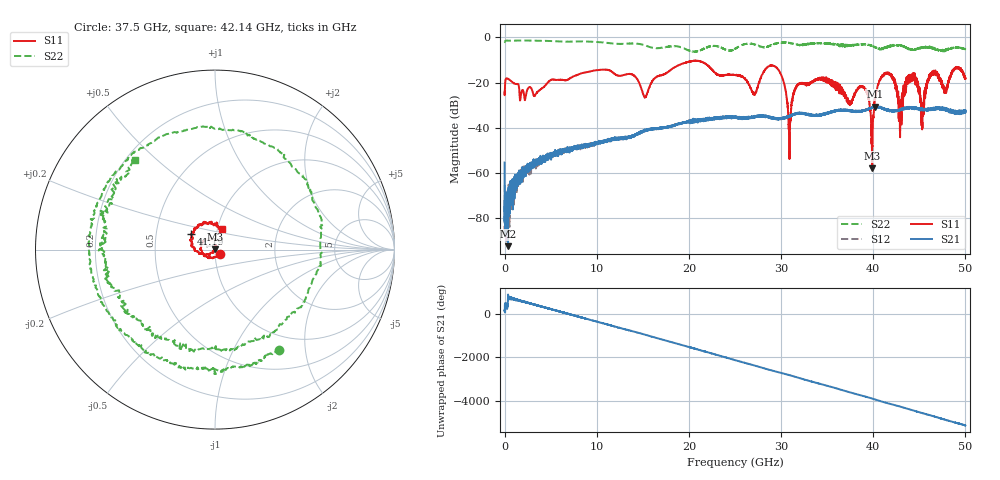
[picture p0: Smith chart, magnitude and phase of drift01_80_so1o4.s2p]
!Created with skrf (http://scikit-rf.org).
# Hz S RI R 50.0
!freq ReS11 ImS11 ReS21 ImS21 ReS12 ImS12 ReS22 ImS22
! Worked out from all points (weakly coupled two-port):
!   10001 points, 300 kHz to 50 GHz, reference 50 ohm
!   highest |S21| = -30.59 dB at 40.17 GHz (marker M1); lowest = -92.4 dB at 375.3 MHz (marker M2)
!   lowest |S11| = -57.9 dB at 39.89 GHz (marker M3), VSWR 1.00, Z = 50.1 + j0.0643 ohm
!   |S11| at or under -10 dB: start of sweep to end of sweep
!   |S22| runs from -6.4 to -1.4 dB; largest |S21 - S12| = 0.004
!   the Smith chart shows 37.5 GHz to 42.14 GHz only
!   S11 on the Smith chart (normalised r, x): 37.5 GHz: 1.06, -0.05; 41.19 GHz: 0.76, +0.14; 42.14 GHz: 1.05, +0.24
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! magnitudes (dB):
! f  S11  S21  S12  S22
! 300 kHz  -24.1  -55.4  -65.3  -2.1
! 375.3 MHz  -18.3  -92.4  -71.8  -1.4
! 8.335 GHz  -15.9  -48.8  -47.9  -1.8
! 16.67 GHz  -17.1  -40.2  -40.3  -4.8
! 25 GHz  -16.6  -35.2  -35.4  -5.1
! 27.09 GHz  -25.1  -35.5  -35.0  -3.0
! 29.44 GHz  -13.2  -36.0  -36.2  -2.8
! 30.91 GHz  -50.8  -34.7  -34.9  -2.5
! 31.69 GHz  -21.6  -33.8  -33.9  -3.2
! 33.34 GHz  -19.8  -34.6  -34.4  -2.6
! 37.5 GHz  -28.8  -32.6  -32.6  -3.5
! 38.99 GHz  -22.2  -32.5  -32.2  -3.0
! 39.89 GHz  -57.9  -31.3  -31.0  -3.9
! 40.17 GHz  -27.3  -30.6  -30.9  -4.3
! 41.19 GHz  -16.0  -31.5  -31.5  -4.6
! 41.67 GHz  -15.6  -32.3  -32.2  -3.9
! 42.14 GHz  -18.6  -32.6  -32.4  -3.5
! 42.85 GHz  -31.8  -32.3  -32.1  -3.6
! 44.16 GHz  -16.7  -31.5  -31.1  -5.5
! 45.31 GHz  -40.7  -31.8  -32.1  -4.4
! 46.42 GHz  -15.8  -31.7  -31.5  -4.8
! 50 GHz  -18.0  -32.4  -32.9  -5.3
